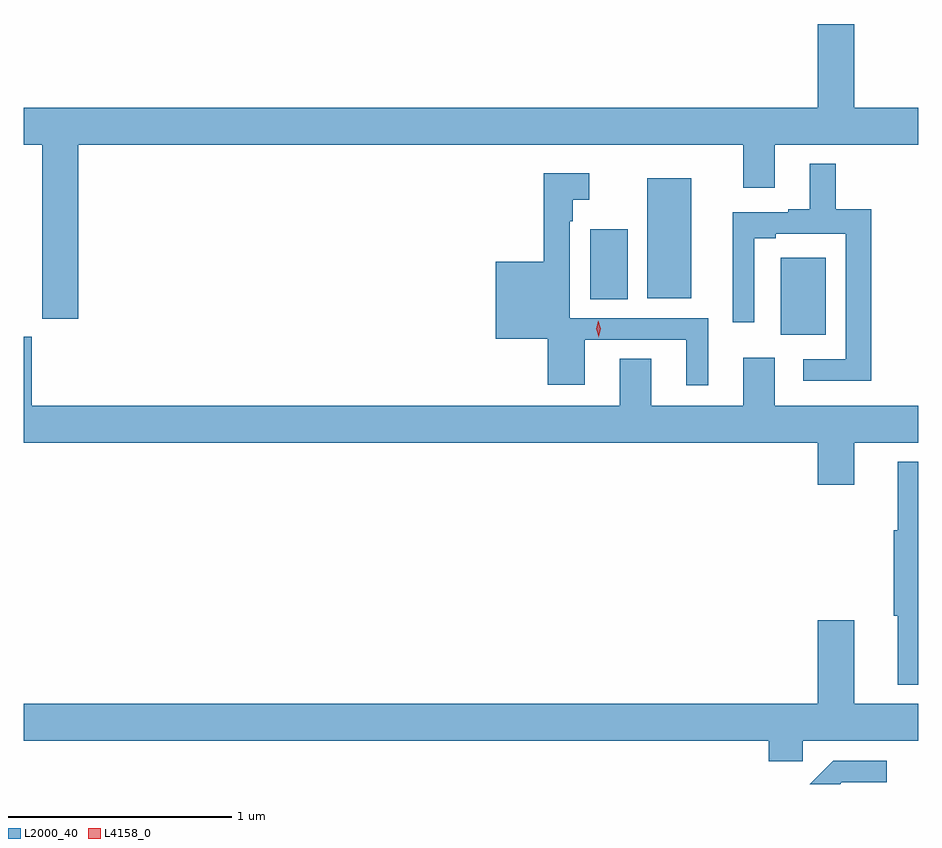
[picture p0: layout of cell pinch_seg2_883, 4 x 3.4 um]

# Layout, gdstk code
import gdstk
lib = gdstk.Library(unit=1e-6, precision=1e-09)
def R(c, l, rs):  # rectangles x0, y0, x1, y1
    for r in rs: c.add(gdstk.rectangle(r[:2], r[2:], *l))
def P(c, l, *ps):  # polygons
    for p in ps: c.add(gdstk.Polygon(p, *l))
L2000_40 = (2000, 40)
L4158_0 = (4158, 0)

pinch_seg2_883 = lib.new_cell('pinch_seg2_883')
R(pinch_seg2_883, L2000_40, [(380.627,596.171,380.827,596.515), (379.775,596.329,379.942,596.641), (380.03,596.333,380.227,596.869)])
P(pinch_seg2_883, L2000_40, [(377.486,597.02),(380.459,597.02),(380.459,596.826),(380.599,596.826),(380.599,597.02),(381.242,597.02),(381.242,597.184),(380.956,597.184),(380.956,597.559),(380.792,597.559),(380.792,597.184),(377.242,597.184),(377.242,597.02),(377.326,597.02),(377.326,596.241),(377.486,596.241)],
  [(381.032,596.731),(380.873,596.731),(380.873,596.935),(380.756,596.935),(380.756,596.731),(380.66,596.731),(380.66,596.718),(380.411,596.718),(380.411,596.226),(380.508,596.226),(380.508,596.602),(380.605,596.602),(380.605,596.622),(380.916,596.622),(380.916,596.061),(380.727,596.061),(380.727,595.965),(381.032,595.965)],
  [(380.302,596.244),(379.683,596.244),(379.683,596.678),(379.696,596.678),(379.696,596.774),(379.771,596.774),(379.771,596.893),(379.567,596.893),(379.567,596.497),(379.352,596.497),(379.352,596.153),(379.586,596.153),(379.586,595.947),(379.75,595.947),(379.75,596.148),(380.204,596.148),(380.204,595.944),(380.302,595.944)],
  [(380.956,595.688),(381.242,595.688),(381.242,595.852),(380.599,595.852),(380.599,596.068),(380.459,596.068),(380.459,595.852),(380.047,595.852),(380.047,596.063),(379.907,596.063),(379.907,595.852),(377.278,595.852),(377.278,596.161),(377.242,596.161),(377.242,595.688),(380.792,595.688),(380.792,595.5),(380.956,595.5)],
  [(381.242,595.603),(381.149,595.603),(381.149,595.296),(381.132,595.296),(381.132,594.915),(381.149,594.915),(381.149,594.605),(381.242,594.605)],
  [(380.724,594.356),(381.242,594.356),(381.242,594.52),(380.956,594.52),(380.956,594.895),(380.792,594.895),(380.792,594.52),(377.242,594.52),(377.242,594.356),(380.573,594.356),(380.573,594.263),(380.724,594.263)],
  [(380.9,594.17),(381.1,594.17),(381.1,594.267),(380.861,594.267),(380.756,594.162),(380.892,594.162)])
P(pinch_seg2_883, L4158_0, [(379.812,596.159),(379.812,596.16),(379.802,596.196),(379.811,596.232),(379.811,596.232),(379.811,596.232),(379.822,596.196),(379.812,596.16)])

lib.write_gds('pinch_seg2_883.gds')
